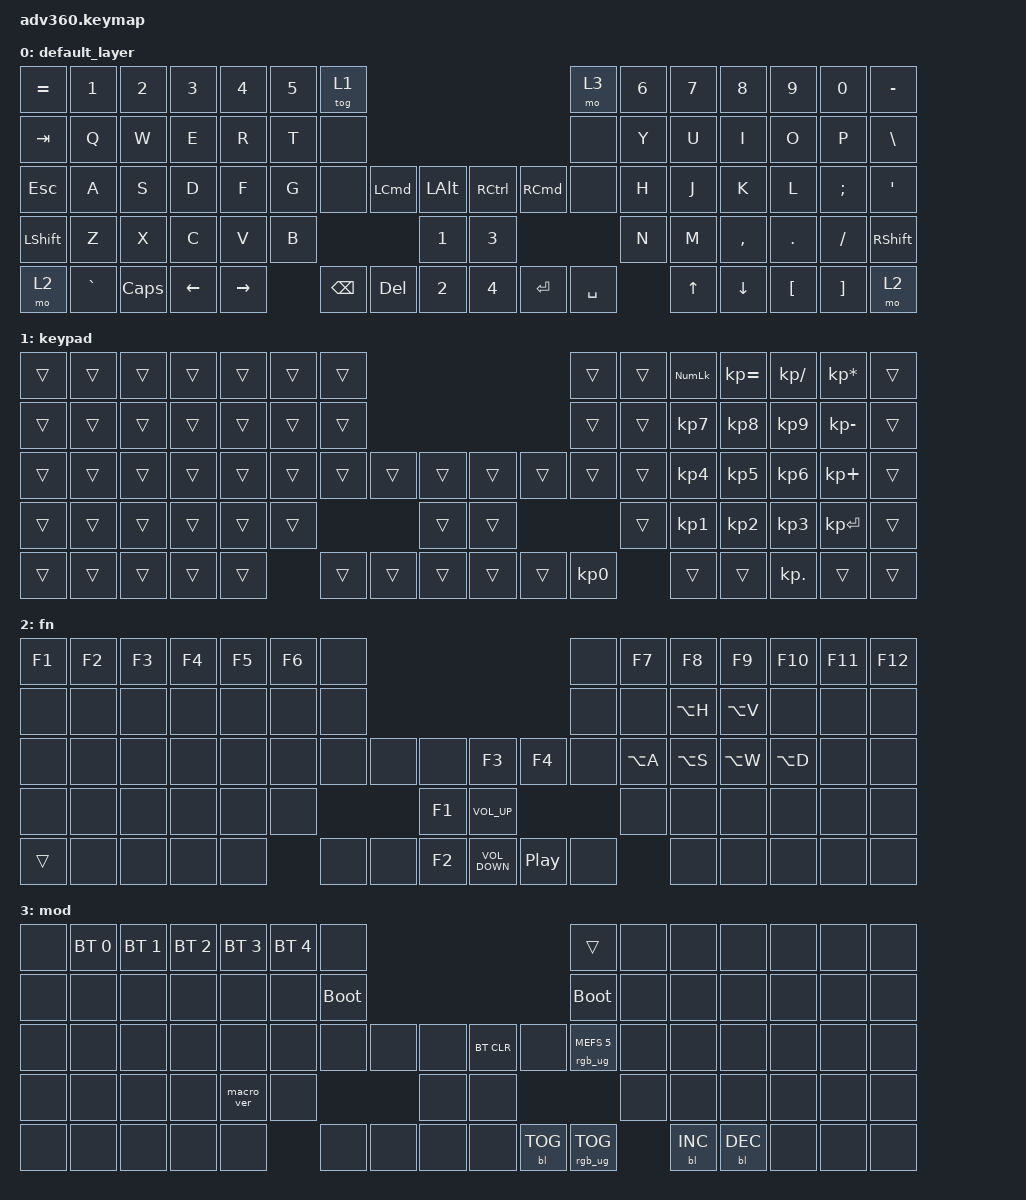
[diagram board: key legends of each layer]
#include <behaviors.dtsi>
#include <dt-bindings/zmk/backlight.h>
#include <dt-bindings/zmk/bt.h>
#include <dt-bindings/zmk/keys.h>
#include <dt-bindings/zmk/rgb.h>

/ {
    behaviors {
        #include "macros.dtsi"
      #include "version.dtsi"
      #ifndef VERSION_MACRO

        macro_ver: macro_ver {
            compatible = "zmk,behavior-macro";
            label = "macro_version";
            #binding-cells = <0>;
            bindings = <&kp RET>;
        };

        #endif

        hm: homerow_mods {
            compatible = "zmk,behavior-hold-tap";
            label = "HOMEROW_MODS";
            #binding-cells = <2>;
            tapping-term-ms = <200>;
            quick_tap_ms = <175>;
            flavor = "tap-preferred";
            bindings = <&kp>, <&kp>;
        };
    };

    macros {
    };

    keymap {
        compatible = "zmk,keymap";

        default_layer {
            bindings = <
&kp EQUAL  &kp N1     &kp N2    &kp N3    &kp N4     &kp N5  &tog 1                                                                  &mo 3      &kp N6  &kp N7  &kp N8     &kp N9    &kp N0    &kp MINUS
&kp TAB    &kp Q      &kp W     &kp E     &kp R      &kp T   &none                                                                   &none      &kp Y   &kp U   &kp I      &kp O     &kp P     &kp BSLH
&kp ESC    &kp A      &kp S     &kp D     &kp F      &kp G   &none     &kp LCMD  &kp LALT      &kp RIGHT_CONTROL  &kp RIGHT_COMMAND  &none      &kp H   &kp J   &kp K      &kp L     &kp SEMI  &kp SQT
&kp LSHFT  &kp Z      &kp X     &kp C     &kp V      &kp B                       &kp N1        &kp N3                                           &kp N   &kp M   &kp COMMA  &kp DOT   &kp FSLH  &kp RSHFT
&mo 2      &kp GRAVE  &kp CAPS  &kp LEFT  &kp RIGHT          &kp BSPC  &kp DEL   &kp N2        &kp N4             &kp ENTER          &kp SPACE          &kp UP  &kp DOWN   &kp LBKT  &kp RBKT  &mo 2
            >;
        };

        keypad {
            bindings = <
&trans  &trans  &trans  &trans  &trans  &trans  &trans                                      &trans     &trans  &kp KP_NUM  &kp KP_EQUAL  &kp KP_SLASH  &kp KP_MULTIPLY  &trans
&trans  &trans  &trans  &trans  &trans  &trans  &trans                                      &trans     &trans  &kp KP_N7   &kp KP_N8     &kp KP_N9     &kp KP_MINUS     &trans
&trans  &trans  &trans  &trans  &trans  &trans  &trans  &trans  &trans      &trans  &trans  &trans     &trans  &kp KP_N4   &kp KP_N5     &kp KP_N6     &kp KP_PLUS      &trans
&trans  &trans  &trans  &trans  &trans  &trans                  &trans      &trans                     &trans  &kp KP_N1   &kp KP_N2     &kp KP_N3     &kp KP_ENTER     &trans
&trans  &trans  &trans  &trans  &trans          &trans  &trans  &trans      &trans  &trans  &kp KP_N0          &trans      &trans        &kp KP_DOT    &trans           &trans
            >;
        };

        fn {
            bindings = <
&kp F1  &kp F2  &kp F3  &kp F4  &kp F5  &kp F6  &none                                                          &none  &kp F7     &kp F8     &kp F9     &kp F10    &kp F11  &kp F12
&none   &none   &none   &none   &none   &none   &none                                                          &none  &none      &kp LA(H)  &kp LA(V)  &none      &none    &none
&none   &none   &none   &none   &none   &none   &none  &none  &none       &kp F3             &kp F4            &none  &kp LA(A)  &kp LA(S)  &kp LA(W)  &kp LA(D)  &none    &none
&none   &none   &none   &none   &none   &none                 &kp F1      &kp C_VOLUME_UP                             &none      &none      &none      &none      &none    &none
&trans  &none   &none   &none   &none           &none  &none  &kp F2      &kp C_VOLUME_DOWN  &kp C_PLAY_PAUSE  &none             &none      &none      &none      &none    &none
            >;
        };

        mod {
            bindings = <
&none  &bt BT_SEL 0  &bt BT_SEL 1  &bt BT_SEL 2  &bt BT_SEL 3  &bt BT_SEL 4  &none                                                  &trans                  &none  &none       &none       &none  &none  &none
&none  &none         &none         &none         &none         &none         &bootloader                                            &bootloader             &none  &none       &none       &none  &none  &none
&none  &none         &none         &none         &none         &none         &none        &none  &none      &bt BT_CLR  &none       &rgb_ug RGB_MEFS_CMD 5  &none  &none       &none       &none  &none  &none
&none  &none         &none         &none         &macro_ver    &none                             &none      &none                                           &none  &none       &none       &none  &none  &none
&none  &none         &none         &none         &none                       &none        &none  &none      &none       &bl BL_TOG  &rgb_ug RGB_TOG                &bl BL_INC  &bl BL_DEC  &none  &none  &none
            >;
        };
    };
};
